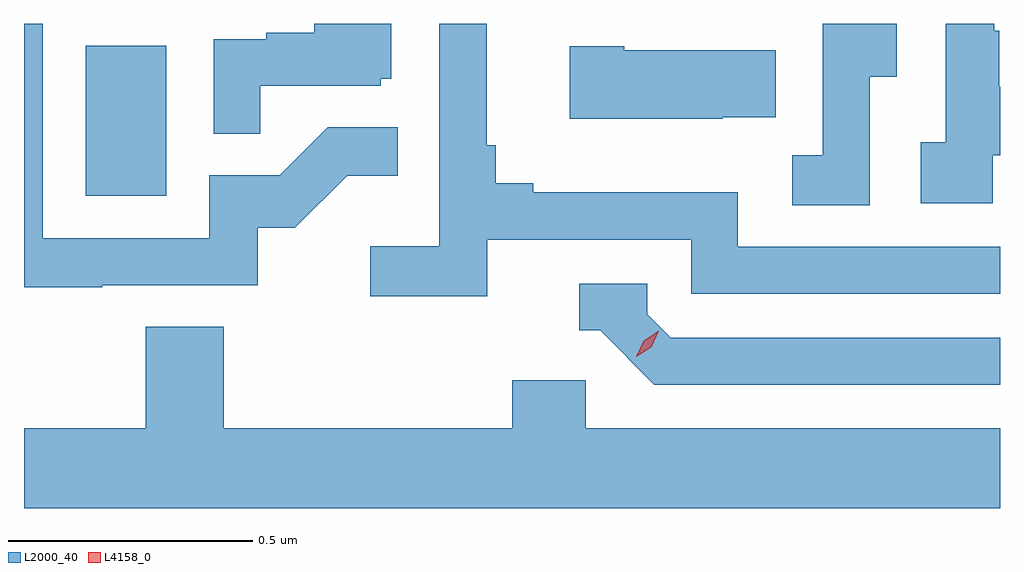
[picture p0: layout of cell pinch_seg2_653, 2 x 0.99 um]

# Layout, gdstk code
import gdstk
lib = gdstk.Library(unit=1e-6, precision=1e-09)
def R(c, l, rs):  # rectangles x0, y0, x1, y1
    for r in rs: c.add(gdstk.rectangle(r[:2], r[2:], *l))
def P(c, l, *ps):  # polygons
    for p in ps: c.add(gdstk.Polygon(p, *l))
L2000_40 = (2000, 40)
L4158_0 = (4158, 0)

pinch_seg2_653 = lib.new_cell('pinch_seg2_653')
R(pinch_seg2_653, L2000_40, [(1060.202,600.324,1060.366,600.631)])
P(pinch_seg2_653, L2000_40, [(1060.559,600.549),(1060.806,600.549),(1060.806,600.564),(1060.828,600.564),(1060.828,600.676),(1060.67,600.676),(1060.67,600.658),(1060.571,600.658),(1060.571,600.645),(1060.464,600.645),(1060.464,600.451),(1060.559,600.451)],
  [(1060.235,600.141),(1060.554,600.141),(1060.554,600.258),(1060.63,600.258),(1060.737,600.365),(1060.841,600.365),(1060.841,600.464),(1060.697,600.464),(1060.599,600.366),(1060.455,600.366),(1060.455,600.237),(1060.113,600.237),(1060.113,600.676),(1060.075,600.676),(1060.075,600.136),(1060.235,600.136)],
  [(1061.024,600.234),(1061.442,600.234),(1061.442,600.123),(1062.075,600.123),(1062.075,600.219),(1061.538,600.219),(1061.538,600.331),(1061.119,600.331),(1061.119,600.35),(1061.042,600.35),(1061.042,600.427),(1061.023,600.427),(1061.023,600.676),(1060.926,600.676),(1060.926,600.22),(1060.785,600.22),(1060.785,600.118),(1061.024,600.118)],
  [(1061.808,600.568),(1061.863,600.568),(1061.863,600.676),(1061.712,600.676),(1061.712,600.407),(1061.649,600.407),(1061.649,600.304),(1061.808,600.304)],
  [(1062.06,600.407),(1062.075,600.407),(1062.075,600.547),(1062.073,600.547),(1062.073,600.662),(1062.063,600.662),(1062.063,600.676),(1061.964,600.676),(1061.964,600.434),(1061.913,600.434),(1061.913,600.309),(1062.06,600.309)],
  [(1061.507,600.485),(1061.615,600.485),(1061.615,600.622),(1061.305,600.622),(1061.305,600.63),(1061.193,600.63),(1061.193,600.482),(1061.507,600.482)],
  [(1062.075,600.033),(1061.4,600.033),(1061.352,600.081),(1061.352,600.144),(1061.213,600.144),(1061.213,600.048),(1061.256,600.048),(1061.367,599.937),(1062.075,599.937)],
  [(1062.075,599.848),(1061.226,599.848),(1061.226,599.946),(1061.075,599.946),(1061.075,599.848),(1060.484,599.848),(1060.484,600.056),(1060.324,600.056),(1060.324,599.848),(1060.075,599.848),(1060.075,599.684),(1062.075,599.684)])
P(pinch_seg2_653, L4158_0, [(1061.33,599.994),(1061.33,599.994),(1061.345,600.027),(1061.376,600.047),(1061.376,600.047),(1061.376,600.047),(1061.36,600.014),(1061.33,599.994)])

lib.write_gds('pinch_seg2_653.gds')
